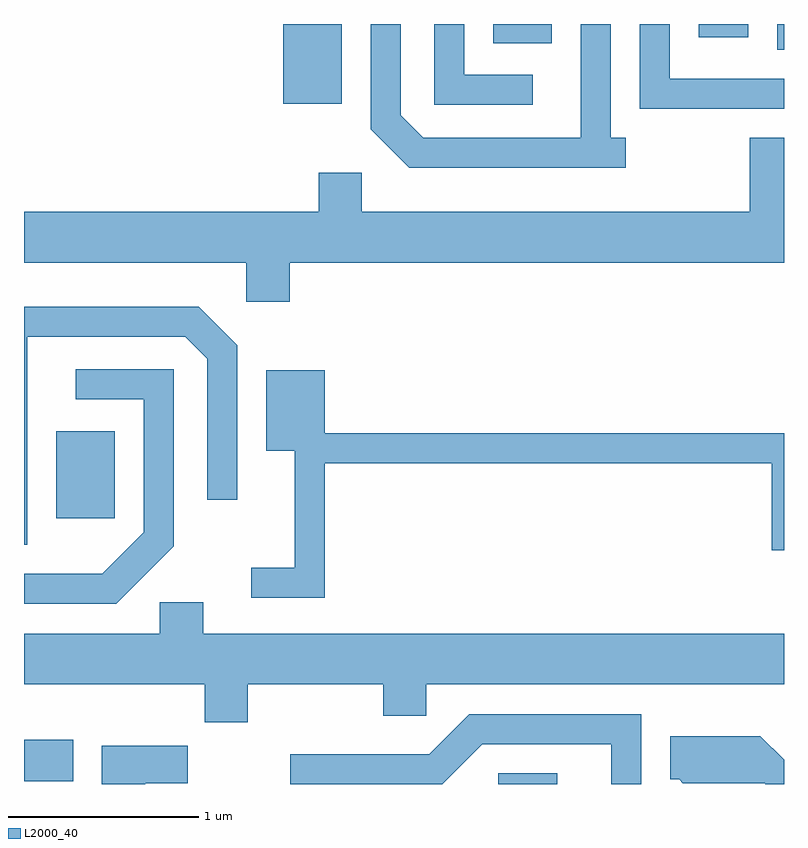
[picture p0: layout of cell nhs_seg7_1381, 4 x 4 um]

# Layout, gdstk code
import gdstk
lib = gdstk.Library(unit=1e-6, precision=1e-09)
def R(c, l, rs):  # rectangles x0, y0, x1, y1
    for r in rs: c.add(gdstk.rectangle(r[:2], r[2:], *l))
def P(c, l, *ps):  # polygons
    for p in ps: c.add(gdstk.Polygon(p, *l))
L2000_40 = (2000, 40)

nhs_seg7_1381 = lib.new_cell('nhs_seg7_1381')
R(nhs_seg7_1381, L2000_40, [(230.106,1698.252,230.418,1698.309), (227.611,1698.266,227.869,1698.484), (227.781,1699.651,228.089,1700.109), (228.976,1701.831,229.284,1702.252), (231.576,1702.116,231.611,1702.252), (230.081,1702.151,230.389,1702.252), (231.161,1702.181,231.424,1702.252)])
P(nhs_seg7_1381, L2000_40, [(230.288,1701.984),(229.929,1701.984),(229.929,1702.252),(229.771,1702.252),(229.771,1701.826),(230.288,1701.826)],
  [(230.778,1701.654),(230.699,1701.654),(230.699,1702.252),(230.541,1702.252),(230.541,1701.654),(229.712,1701.654),(229.594,1701.772),(229.594,1702.252),(229.436,1702.252),(229.436,1701.699),(229.639,1701.496),(230.778,1701.496)],
  [(231.611,1701.964),(231.009,1701.964),(231.009,1702.252),(230.851,1702.252),(230.851,1701.806),(231.611,1701.806)],
  [(229.009,1700.996),(231.611,1700.996),(231.611,1701.654),(231.431,1701.654),(231.431,1701.264),(229.389,1701.264),(229.389,1701.469),(229.161,1701.469),(229.161,1701.264),(227.611,1701.264),(227.611,1700.996),(228.781,1700.996),(228.781,1700.791),(229.009,1700.791)],
  [(227.629,1700.606),(228.459,1700.606),(228.576,1700.489),(228.576,1699.748),(228.734,1699.748),(228.734,1700.562),(228.532,1700.764),(227.611,1700.764),(227.611,1699.511),(227.629,1699.511)],
  [(228.399,1699.504),(228.399,1700.434),(227.883,1700.434),(227.883,1700.276),(228.241,1700.276),(228.241,1699.577),(228.024,1699.359),(227.611,1699.359),(227.611,1699.201),(228.097,1699.201)],
  [(229.194,1699.941),(231.546,1699.941),(231.546,1699.481),(231.611,1699.481),(231.611,1700.099),(229.194,1700.099),(229.194,1700.429),(228.886,1700.429),(228.886,1700.006),(229.036,1700.006),(229.036,1699.389),(228.808,1699.389),(228.808,1699.231),(229.194,1699.231)],
  [(228.789,1698.776),(229.501,1698.776),(229.501,1698.611),(229.729,1698.611),(229.729,1698.776),(231.611,1698.776),(231.611,1699.044),(228.554,1699.044),(228.554,1699.209),(228.326,1699.209),(228.326,1699.044),(227.611,1699.044),(227.611,1698.776),(228.561,1698.776),(228.561,1698.576),(228.789,1698.576)],
  [(230.022,1698.461),(230.701,1698.461),(230.701,1698.252),(230.859,1698.252),(230.859,1698.619),(229.954,1698.619),(229.744,1698.409),(229.011,1698.409),(229.011,1698.252),(229.813,1698.252)],
  [(231.611,1698.38),(231.487,1698.504),(231.011,1698.504),(231.011,1698.276),(231.059,1698.276),(231.079,1698.256),(231.509,1698.256),(231.513,1698.252),(231.611,1698.252)],
  [(228.249,1698.256),(228.474,1698.256),(228.474,1698.454),(228.021,1698.454),(228.021,1698.252),(228.249,1698.252)])

lib.write_gds('nhs_seg7_1381.gds')
